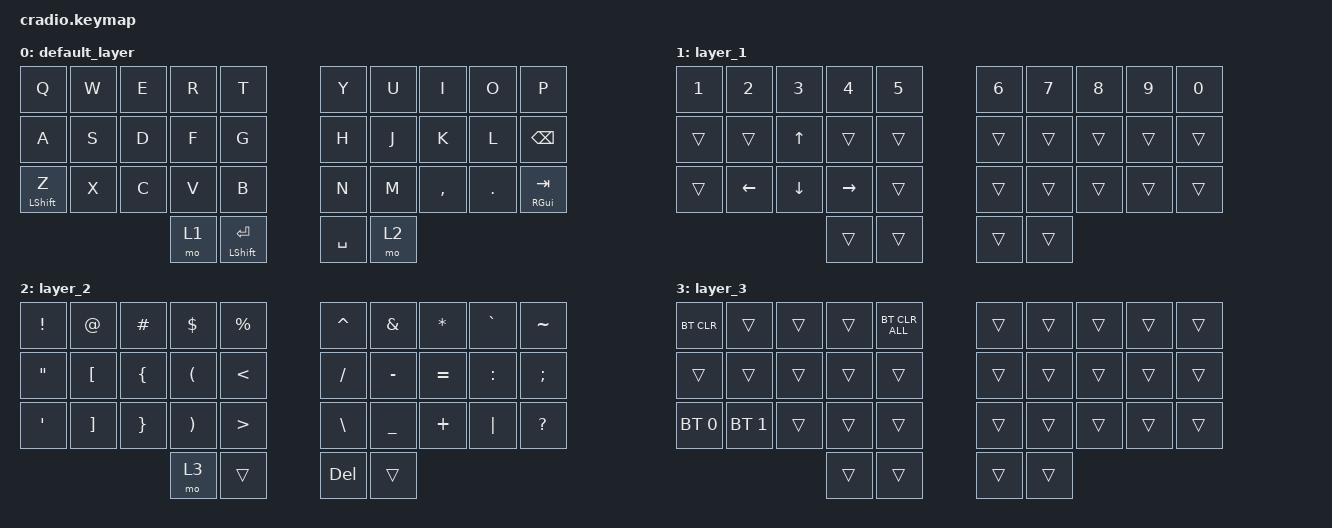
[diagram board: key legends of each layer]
// Copyright (c) 2022 The ZMK Contributors
// SPDX-License-Identifier: MIT

#define ZMK_MOUSE_DEFAULT_MOVE_VAL 2500  // 600
#define ZMK_MOUSE_DEFAULT_SCRL_VAL 20    // 10

#include <behaviors.dtsi>
#include <dt-bindings/zmk/bt.h>
#include <dt-bindings/zmk/keys.h>

#define MAC 0
#define WIN 1
#define RIG 2
#define LEF 3
#define TRI 4
#define MOUSE 5
#define U_MS_U &mmv MOVE_UP
#define U_MS_D &mmv MOVE_DOWN
#define U_MS_L &mmv MOVE_LEFT
#define U_MS_R &mmv MOVE_RIGHT
#define U_WH_U &msc SCRL_UP
#define U_WH_D &msc SCRL_DOWN
#define U_WH_L &msc SCRL_LEFT
#define U_WH_R &msc SCRL_RIGHT

/ {
    chosen { zmk,charmap = &charmap_us; };

    behaviors {
        mmv {
            acceleration-exponent = <1>;      // 1
            time-to-max-speed-ms = <300>;    // 40
            delay-ms = <0>;                   // 0
        };

        msc {
            acceleration-exponent = <0>;      // 0
            time-to-max-speed-ms = <40>;      // 500
            delay-ms = <0>;                   // 10
        };
    };

    conditional_layers { compatible = "zmk,conditional-layers"; };

    macros {
        code_block: code_block {
            compatible = "zmk,behavior-macro";
            #binding-cells = <0>;
            bindings = <&none &kp LEFT_BRACE &kp C &kp O &kp D &kp E &kp RBRC &kp RET &kp RET &kp LEFT_BRACE &kp C &kp O &kp D &kp E &kp RBRC &kp UP_ARROW>;
            label = "CODE_BLOCK";
        };

        instance: instance {
            compatible = "zmk,behavior-macro";
            #binding-cells = <0>;
            bindings = <&none &kp I &kp N &kp S &kp T &kp A &kp N &kp C &kp E &kp EQUAL>;
            label = "INSTANCE";
        };

        pattern: pattern {
            compatible = "zmk,behavior-macro";
            #binding-cells = <0>;
            bindings = <&none &kp P &kp A &kp T &kp T &kp E &kp R &kp N &kp EQUAL>;
            label = "PATTERN";
        };

        copy: copy {
            compatible = "zmk,behavior-macro";
            #binding-cells = <0>;
            bindings = <&kp LG(C)>;
            label = "COPY";
        };

        paste: paste {
            compatible = "zmk,behavior-macro";
            #binding-cells = <0>;
            bindings = <&kp LG(V)>;
            label = "PASTE";
        };
    };

    combos {
        compatible = "zmk,combos";

        left_para {
            bindings = <&kp LEFT_PARENTHESIS>;
            key-positions = <1 2>;
        };

        right_para {
            bindings = <&kp RIGHT_PARENTHESIS>;
            key-positions = <2 3>;
        };

        left_brack {
            bindings = <&kp LEFT_BRACKET>;
            key-positions = <11 12>;
        };

        right_brack {
            bindings = <&kp RIGHT_BRACKET>;
            key-positions = <12 13>;
        };

        left_brace {
            bindings = <&kp LEFT_BRACE>;
            key-positions = <21 22>;
        };

        right_brace {
            bindings = <&kp RIGHT_BRACE>;
            key-positions = <22 23>;
        };

        slash {
            bindings = <&kp SLASH>;
            key-positions = <5 6>;
        };

        back_slash {
            bindings = <&kp BACKSLASH>;
            key-positions = <15 16>;
        };

        instance {
            bindings = <&instance>;
            key-positions = <8 9>;
        };

        pattern {
            bindings = <&pattern>;
            key-positions = <18 19>;
        };

        code_block {
            bindings = <&code_block>;
            key-positions = <28 29>;
        };

        volume_up {
            bindings = <&kp C_VOLUME_UP>;
            key-positions = <3 4>;
        };

        volume_down {
            bindings = <&kp C_VOLUME_DOWN>;
            key-positions = <13 14>;
        };

        copy {
            bindings = <&copy>;
            key-positions = <10 11>;
        };

        paste {
            bindings = <&paste>;
            key-positions = <20 21>;
        };
    };

    keymap {
        compatible = "zmk,keymap";

        default_layer {
            bindings = <
&kp Q             &kp W  &kp E  &kp R  &kp T            &kp Y      &kp U  &kp I      &kp O    &kp P
&kp A             &kp S  &kp D  &kp F  &kp G            &kp H      &kp J  &kp K      &kp L    &kp BACKSPACE
&mt LEFT_SHIFT Z  &kp X  &kp C  &kp V  &kp B            &kp N      &kp M  &kp COMMA  &kp DOT  &mt RGUI TAB
                                &mo 1  &mt LSHFT RET    &kp SPACE  &mo 2
            >;
        };

        layer_1 {
            bindings = <
&kp NUMBER_1  &kp NUMBER_2  &kp N3          &kp N4     &kp N5    &kp N6  &kp N7  &kp N8  &kp N9  &kp N0
&trans        &trans        &kp UP_ARROW    &trans     &trans    &trans  &trans  &trans  &trans  &trans
&trans        &kp LEFT      &kp DOWN_ARROW  &kp RIGHT  &trans    &trans  &trans  &trans  &trans  &trans
                                            &trans     &trans    &trans  &trans
            >;
        };

        layer_2 {
            bindings = <
&kp EXCL  &kp AT    &kp HASH  &kp DLLR  &kp PRCNT           &kp CARET  &kp AMPS   &kp ASTRK  &kp GRAVE  &kp TILDE
&kp DQT   &kp LBKT  &kp LBRC  &kp LPAR  &kp LESS_THAN       &kp FSLH   &kp MINUS  &kp EQUAL  &kp COLON  &kp SEMI
&kp SQT   &kp RBKT  &kp RBRC  &kp RPAR  &kp GREATER_THAN    &kp BSLH   &kp UNDER  &kp PLUS   &kp PIPE   &kp QMARK
                              &mo 3     &trans              &kp DEL    &trans
            >;
        };

        layer_3 {
            bindings = <
&bt BT_CLR    &trans        &trans  &trans  &bt BT_CLR_ALL    &trans  &trans  &trans  &trans  &trans
&trans        &trans        &trans  &trans  &trans            &trans  &trans  &trans  &trans  &trans
&bt BT_SEL 0  &bt BT_SEL 1  &trans  &trans  &trans            &trans  &trans  &trans  &trans  &trans
                                    &trans  &trans            &trans  &trans
            >;
        };
    };
};
